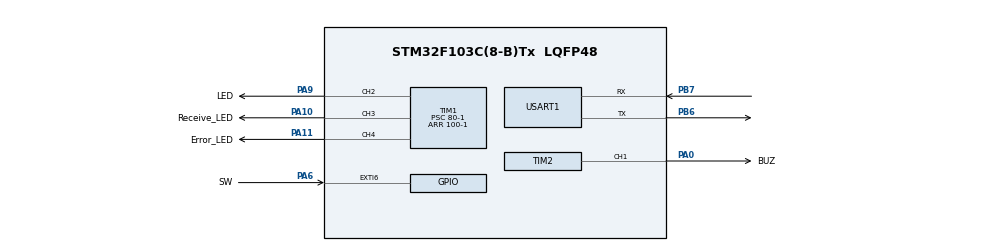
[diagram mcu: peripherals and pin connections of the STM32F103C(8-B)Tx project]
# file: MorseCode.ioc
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Mcu.Family=STM32F1
Mcu.Name=STM32F103C(8-B)Tx
Mcu.Package=LQFP48
NVIC.EXTI9_5_IRQn=true\:0\:0\:false\:false\:true\:true\:true
NVIC.PriorityGroup=NVIC_PRIORITYGROUP_4
NVIC.TIM3_IRQn=true\:1\:0\:true\:false\:true\:true\:true
NVIC.USART1_IRQn=true\:0\:0\:false\:false\:true\:true\:true
PA0-WKUP.GPIO_Label=BUZ
PA0-WKUP.Signal=S_TIM2_CH1_ETR
PA10.GPIO_Label=Receive_LED
PA10.Signal=S_TIM1_CH3
PA11.GPIO_Label=Error_LED
PA11.Signal=S_TIM1_CH4
PA13.Mode=Trace_Asynchronous_SW
PA13.Signal=SYS_JTMS-SWDIO
PA14.Mode=Trace_Asynchronous_SW
PA14.Signal=SYS_JTCK-SWCLK
PA6.GPIO_Label=SW
PA6.GPIO_ModeDefaultEXTI=GPIO_MODE_IT_FALLING
PA6.GPIO_PuPd=GPIO_PULLUP
PA6.Signal=GPXTI6
PA9.GPIO_Label=LED
PA9.Signal=S_TIM1_CH2
PB3.Mode=Trace_Asynchronous_SW
PB3.Signal=SYS_JTDO-TRACESWO
PB6.Mode=Asynchronous
PB6.Signal=USART1_TX
PB7.Mode=Asynchronous
PB7.Signal=USART1_RX
PD0-OSC_IN.Mode=HSE-External-Oscillator
PD0-OSC_IN.Signal=RCC_OSC_IN
PD1-OSC_OUT.Mode=HSE-External-Oscillator
PD1-OSC_OUT.Signal=RCC_OSC_OUT
ProjectManager.HeapSize=0x200
ProjectManager.StackSize=0x400
ProjectManager.TargetToolchain=MDK-ARM V5.27
RCC.APB1Freq_Value=8000000
RCC.APB2Freq_Value=8000000
SH.S_TIM1_CH2.0=TIM1_CH2,PWM Generation2 CH2
SH.S_TIM1_CH3.0=TIM1_CH3,PWM Generation3 CH3
SH.S_TIM1_CH4.0=TIM1_CH4,PWM Generation4 CH4
SH.S_TIM2_CH1_ETR.0=TIM2_CH1,PWM Generation1 CH1
TIM1.Channel-PWM\ Generation2\ CH2=TIM_CHANNEL_2
TIM1.Channel-PWM\ Generation3\ CH3=TIM_CHANNEL_3
TIM1.Channel-PWM\ Generation4\ CH4=TIM_CHANNEL_4
TIM1.Period=100-1
TIM1.Prescaler=80-1
TIM2.Channel-PWM\ Generation1\ CH1=TIM_CHANNEL_1
TIM3.Period=1000-1
TIM3.Prescaler=400-1
USART1.VirtualMode=VM_ASYNC
VP_TIM1_VS_ClockSourceINT.Mode=Internal
VP_TIM2_VS_ClockSourceINT.Mode=Internal
VP_TIM3_VS_ClockSourceINT.Mode=Internal
board=custom

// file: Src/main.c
/* USER CODE BEGIN Header */
/**
 ******************************************************************************
 * @file           : main.c
 * @brief          : Main program body
 ******************************************************************************
 * @attention
 *
 * <h2><center>&copy; Copyright (c) 2019 STMicroelectronics.
 * All rights reserved.</center></h2>
 *
 * This software component is licensed by ST under BSD 3-Clause license,
 * the "License"; You may not use this file except in compliance with the
 * License. You may obtain a copy of the License at:
 *                        opensource.org/licenses/BSD-3-Clause
 *
 ******************************************************************************
 */
/* USER CODE END Header */

#include "main.h"
#include "gpio.h"
#include "tim.h"
#include "usart.h"

/* USER CODE BEGIN Includes */
#include <stdio.h>
#include <string.h>

/* USER CODE END Includes */

/* USER CODE BEGIN PV */
extern uint8_t rx;
/* USER CODE END PV */

void SystemClock_Config(void);

/* USER CODE BEGIN 0 */
void My_Delay(uint32_t len) {
    for (int i = 1; i <= 1000 * len; i++)
        ;
}

void Print_Help_Info() {
    static uint8_t tmp[100];
    uint16_t offset = 0, len;
    sprintf(tmp + offset, " Welcome to use this Morse Code project\n");
    len = sizeof(" Welcome to use this Morse Code project\n") - 1;
    offset += len;
    sprintf(tmp + offset, "Made By ZhangWP(zzzc18)\n");
    len = sizeof("Made By ZhangWP(zzzc18)\n") - 1;
    offset += len;
    HAL_UART_Transmit(&huart1, tmp, offset, 0xfff);
}
/* USER CODE END 0 */

int main(void) {

    /* MCU
     * Configuration--------------------------------------------------------*/

    /* Reset of all peripherals, Initializes the Flash interface and the
     * Systick. */
    HAL_Init();

    /* Configure the system clock */
    SystemClock_Config();

    /* Initialize all configured peripherals */
    MX_GPIO_Init();
    MX_TIM1_Init();
    MX_TIM2_Init();
    MX_TIM3_Init();
    MX_USART1_UART_Init();
    /* USER CODE BEGIN 2 */
    Print_Help_Info();
    Morse_init();
    HAL_TIM_Base_Init(&htim1);
    HAL_TIM_Base_Init(&htim2);
    HAL_TIM_Base_Start_IT(&htim3);
    HAL_TIM_PWM_Start(&htim1, TIM_CHANNEL_2);
    HAL_TIM_PWM_Start(&htim1, TIM_CHANNEL_3);
    HAL_TIM_PWM_Start(&htim1, TIM_CHANNEL_2);
    HAL_TIM_PWM_Start(&htim1, TIM_CHANNEL_4);
    HAL_TIM_PWM_Start(&htim2, TIM_CHANNEL_1);
    HAL_UART_Receive_IT(&huart1, &rx, 8);
    /* USER CODE END 2 */

    /* Infinite loop */
    while (1) {

    }
}

void SystemClock_Config(void) {
    RCC_OscInitTypeDef RCC_OscInitStruct = {0};
    RCC_ClkInitTypeDef RCC_ClkInitStruct = {0};

    /** Initializes the CPU, AHB and APB busses clocks
     */
    RCC_OscInitStruct.OscillatorType = RCC_OSCILLATORTYPE_HSI;
    RCC_OscInitStruct.HSIState = RCC_HSI_ON;
    RCC_OscInitStruct.HSICalibrationValue = RCC_HSICALIBRATION_DEFAULT;
    RCC_OscInitStruct.PLL.PLLState = RCC_PLL_NONE;
    if (HAL_RCC_OscConfig(&RCC_OscInitStruct) != HAL_OK) {
        Error_Handler();
    }
    /** Initializes the CPU, AHB and APB busses clocks
     */
    RCC_ClkInitStruct.ClockType = RCC_CLOCKTYPE_HCLK | RCC_CLOCKTYPE_SYSCLK |
                                  RCC_CLOCKTYPE_PCLK1 | RCC_CLOCKTYPE_PCLK2;
    RCC_ClkInitStruct.SYSCLKSource = RCC_SYSCLKSOURCE_HSI;
    RCC_ClkInitStruct.AHBCLKDivider = RCC_SYSCLK_DIV1;
    RCC_ClkInitStruct.APB1CLKDivider = RCC_HCLK_DIV1;
    RCC_ClkInitStruct.APB2CLKDivider = RCC_HCLK_DIV1;

    if (HAL_RCC_ClockConfig(&RCC_ClkInitStruct, FLASH_LATENCY_0) != HAL_OK) {
        Error_Handler();
    }
}

void Error_Handler(void) {
    /* USER CODE BEGIN Error_Handler_Debug */
    /* User can add his own implementation to report the HAL error return state
     */

    /* USER CODE END Error_Handler_Debug */
}

#ifdef USE_FULL_ASSERT
/**
 * @brief  Reports the name of the source file and the source line number
 *         where the assert_param error has occurred.
 * @param  file: pointer to the source file name
 * @param  line: assert_param error line source number
 * @retval None
 */
void assert_failed(uint8_t *file, uint32_t line) {
    /* USER CODE BEGIN 6 */
    /* User can add his own implementation to report the file name and line
       number, tex: printf("Wrong parameters value: file %s on line %d\r\n",
       file, line) */
    /* USER CODE END 6 */
}
#endif /* USE_FULL_ASSERT */

/************************ (C) COPYRIGHT STMicroelectronics *****END OF FILE****/
